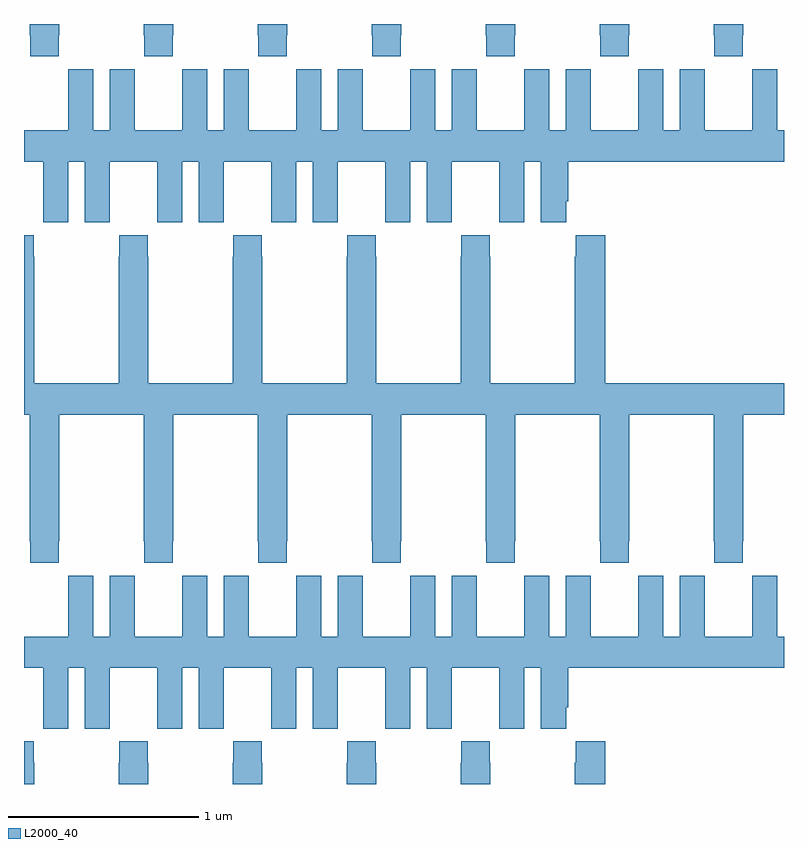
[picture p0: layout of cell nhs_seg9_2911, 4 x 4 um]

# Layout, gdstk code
import gdstk
lib = gdstk.Library(unit=1e-6, precision=1e-09)
def P(c, l, *ps):  # polygons
    for p in ps: c.add(gdstk.Polygon(p, *l))
L2000_40 = (2000, 40)

nhs_seg9_2911 = lib.new_cell('nhs_seg9_2911')
P(nhs_seg9_2911, L2000_40, [(279.783,1174.441),(279.786,1174.441),(279.786,1174.5),(279.631,1174.5),(279.631,1174.441),(279.633,1174.441),(279.633,1174.329),(279.783,1174.329)],
  [(279.183,1174.441),(279.186,1174.441),(279.186,1174.5),(279.031,1174.5),(279.031,1174.441),(279.033,1174.441),(279.033,1174.329),(279.183,1174.329)],
  [(282.783,1174.441),(282.786,1174.441),(282.786,1174.5),(282.631,1174.5),(282.631,1174.441),(282.633,1174.441),(282.633,1174.329),(282.783,1174.329)],
  [(282.183,1174.441),(282.186,1174.441),(282.186,1174.5),(282.031,1174.5),(282.031,1174.441),(282.033,1174.441),(282.033,1174.329),(282.183,1174.329)],
  [(281.583,1174.441),(281.586,1174.441),(281.586,1174.5),(281.431,1174.5),(281.431,1174.441),(281.433,1174.441),(281.433,1174.329),(281.583,1174.329)],
  [(280.983,1174.441),(280.986,1174.441),(280.986,1174.5),(280.831,1174.5),(280.831,1174.441),(280.833,1174.441),(280.833,1174.329),(280.983,1174.329)],
  [(280.383,1174.441),(280.386,1174.441),(280.386,1174.5),(280.231,1174.5),(280.231,1174.441),(280.233,1174.441),(280.233,1174.329),(280.383,1174.329)],
  [(279.232,1173.776),(279.32,1173.776),(279.32,1173.456),(279.45,1173.456),(279.45,1173.568),(279.451,1173.568),(279.451,1173.776),(279.701,1173.776),(279.701,1173.568),(279.702,1173.568),(279.702,1173.456),(279.832,1173.456),(279.832,1173.776),(279.92,1173.776),(279.92,1173.456),(280.05,1173.456),(280.05,1173.568),(280.051,1173.568),(280.051,1173.776),(280.301,1173.776),(280.301,1173.568),(280.302,1173.568),(280.302,1173.456),(280.432,1173.456),(280.432,1173.776),(280.52,1173.776),(280.52,1173.456),(280.65,1173.456),(280.65,1173.568),(280.651,1173.568),(280.651,1173.776),(280.901,1173.776),(280.901,1173.568),(280.902,1173.568),(280.902,1173.456),(281.032,1173.456),(281.032,1173.776),(281.12,1173.776),(281.12,1173.456),(281.25,1173.456),(281.25,1173.568),(281.251,1173.568),(281.251,1173.776),(281.501,1173.776),(281.501,1173.568),(281.502,1173.568),(281.502,1173.456),(281.632,1173.456),(281.632,1173.776),(281.72,1173.776),(281.72,1173.456),(281.854,1173.456),(281.854,1173.568),(281.864,1173.568),(281.864,1173.776),(283,1173.776),(283,1173.94),(282.964,1173.94),(282.964,1174.261),(282.834,1174.261),(282.834,1174.148),(282.833,1174.148),(282.833,1173.94),(282.583,1173.94),(282.583,1174.148),(282.582,1174.148),(282.582,1174.261),(282.452,1174.261),(282.452,1173.94),(282.364,1173.94),(282.364,1174.261),(282.234,1174.261),(282.234,1174.148),(282.233,1174.148),(282.233,1173.94),(281.983,1173.94),(281.983,1174.148),(281.982,1174.148),(281.982,1174.261),(281.852,1174.261),(281.852,1173.94),(281.764,1173.94),(281.764,1174.261),(281.634,1174.261),(281.634,1174.148),(281.633,1174.148),(281.633,1173.94),(281.383,1173.94),(281.383,1174.148),(281.382,1174.148),(281.382,1174.261),(281.252,1174.261),(281.252,1173.94),(281.164,1173.94),(281.164,1174.261),(281.034,1174.261),(281.034,1174.148),(281.033,1174.148),(281.033,1173.94),(280.783,1173.94),(280.783,1174.148),(280.782,1174.148),(280.782,1174.261),(280.652,1174.261),(280.652,1173.94),(280.564,1173.94),(280.564,1174.261),(280.434,1174.261),(280.434,1174.148),(280.433,1174.148),(280.433,1173.94),(280.183,1173.94),(280.183,1174.148),(280.182,1174.148),(280.182,1174.261),(280.052,1174.261),(280.052,1173.94),(279.964,1173.94),(279.964,1174.261),(279.834,1174.261),(279.834,1174.148),(279.833,1174.148),(279.833,1173.94),(279.583,1173.94),(279.583,1174.148),(279.582,1174.148),(279.582,1174.261),(279.452,1174.261),(279.452,1173.94),(279.364,1173.94),(279.364,1174.261),(279.234,1174.261),(279.234,1174.148),(279.233,1174.148),(279.233,1173.94),(279,1173.94),(279,1173.776),(279.101,1173.776),(279.101,1173.568),(279.102,1173.568),(279.102,1173.456),(279.232,1173.456)],
  [(282.059,1173.388),(281.905,1173.388),(281.905,1173.275),(281.899,1173.275),(281.899,1172.608),(281.454,1172.608),(281.454,1173.275),(281.451,1173.275),(281.451,1173.388),(281.301,1173.388),(281.301,1173.275),(281.299,1173.275),(281.299,1172.608),(280.854,1172.608),(280.854,1173.275),(280.851,1173.275),(280.851,1173.388),(280.701,1173.388),(280.701,1173.275),(280.699,1173.275),(280.699,1172.608),(280.254,1172.608),(280.254,1173.275),(280.251,1173.275),(280.251,1173.388),(280.101,1173.388),(280.101,1173.275),(280.099,1173.275),(280.099,1172.608),(279.654,1172.608),(279.654,1173.275),(279.651,1173.275),(279.651,1173.388),(279.501,1173.388),(279.501,1173.275),(279.499,1173.275),(279.499,1172.608),(279.054,1172.608),(279.054,1173.275),(279.051,1173.275),(279.051,1173.388),(279,1173.388),(279,1172.444),(279.031,1172.444),(279.031,1171.777),(279.033,1171.777),(279.033,1171.665),(279.183,1171.665),(279.183,1171.777),(279.186,1171.777),(279.186,1172.444),(279.631,1172.444),(279.631,1171.777),(279.633,1171.777),(279.633,1171.665),(279.783,1171.665),(279.783,1171.777),(279.786,1171.777),(279.786,1172.444),(280.231,1172.444),(280.231,1171.777),(280.233,1171.777),(280.233,1171.665),(280.383,1171.665),(280.383,1171.777),(280.386,1171.777),(280.386,1172.444),(280.831,1172.444),(280.831,1171.777),(280.833,1171.777),(280.833,1171.665),(280.983,1171.665),(280.983,1171.777),(280.986,1171.777),(280.986,1172.444),(281.431,1172.444),(281.431,1171.777),(281.433,1171.777),(281.433,1171.665),(281.583,1171.665),(281.583,1171.777),(281.586,1171.777),(281.586,1172.444),(282.031,1172.444),(282.031,1171.777),(282.033,1171.777),(282.033,1171.665),(282.183,1171.665),(282.183,1171.777),(282.186,1171.777),(282.186,1172.444),(282.631,1172.444),(282.631,1171.777),(282.633,1171.777),(282.633,1171.665),(282.783,1171.665),(282.783,1171.777),(282.786,1171.777),(282.786,1172.444),(283,1172.444),(283,1172.608),(282.059,1172.608)],
  [(279.364,1171.597),(279.234,1171.597),(279.234,1171.484),(279.233,1171.484),(279.233,1171.276),(279,1171.276),(279,1171.112),(279.101,1171.112),(279.101,1170.904),(279.102,1170.904),(279.102,1170.792),(279.232,1170.792),(279.232,1171.112),(279.32,1171.112),(279.32,1170.792),(279.45,1170.792),(279.45,1170.904),(279.451,1170.904),(279.451,1171.112),(279.701,1171.112),(279.701,1170.904),(279.702,1170.904),(279.702,1170.792),(279.832,1170.792),(279.832,1171.112),(279.92,1171.112),(279.92,1170.792),(280.05,1170.792),(280.05,1170.904),(280.051,1170.904),(280.051,1171.112),(280.301,1171.112),(280.301,1170.904),(280.302,1170.904),(280.302,1170.792),(280.432,1170.792),(280.432,1171.112),(280.52,1171.112),(280.52,1170.792),(280.65,1170.792),(280.65,1170.904),(280.651,1170.904),(280.651,1171.112),(280.901,1171.112),(280.901,1170.904),(280.902,1170.904),(280.902,1170.792),(281.032,1170.792),(281.032,1171.112),(281.12,1171.112),(281.12,1170.792),(281.25,1170.792),(281.25,1170.904),(281.251,1170.904),(281.251,1171.112),(281.501,1171.112),(281.501,1170.904),(281.502,1170.904),(281.502,1170.792),(281.632,1170.792),(281.632,1171.112),(281.72,1171.112),(281.72,1170.792),(281.854,1170.792),(281.854,1170.904),(281.864,1170.904),(281.864,1171.112),(283,1171.112),(283,1171.276),(282.964,1171.276),(282.964,1171.597),(282.834,1171.597),(282.834,1171.484),(282.833,1171.484),(282.833,1171.276),(282.583,1171.276),(282.583,1171.484),(282.582,1171.484),(282.582,1171.597),(282.452,1171.597),(282.452,1171.276),(282.364,1171.276),(282.364,1171.597),(282.234,1171.597),(282.234,1171.484),(282.233,1171.484),(282.233,1171.276),(281.983,1171.276),(281.983,1171.484),(281.982,1171.484),(281.982,1171.597),(281.852,1171.597),(281.852,1171.276),(281.764,1171.276),(281.764,1171.597),(281.634,1171.597),(281.634,1171.484),(281.633,1171.484),(281.633,1171.276),(281.383,1171.276),(281.383,1171.484),(281.382,1171.484),(281.382,1171.597),(281.252,1171.597),(281.252,1171.276),(281.164,1171.276),(281.164,1171.597),(281.034,1171.597),(281.034,1171.484),(281.033,1171.484),(281.033,1171.276),(280.783,1171.276),(280.783,1171.484),(280.782,1171.484),(280.782,1171.597),(280.652,1171.597),(280.652,1171.276),(280.564,1171.276),(280.564,1171.597),(280.434,1171.597),(280.434,1171.484),(280.433,1171.484),(280.433,1171.276),(280.183,1171.276),(280.183,1171.484),(280.182,1171.484),(280.182,1171.597),(280.052,1171.597),(280.052,1171.276),(279.964,1171.276),(279.964,1171.597),(279.834,1171.597),(279.834,1171.484),(279.833,1171.484),(279.833,1171.276),(279.583,1171.276),(279.583,1171.484),(279.582,1171.484),(279.582,1171.597),(279.452,1171.597),(279.452,1171.276),(279.364,1171.276)],
  [(281.454,1170.611),(281.451,1170.611),(281.451,1170.724),(281.301,1170.724),(281.301,1170.611),(281.299,1170.611),(281.299,1170.5),(281.454,1170.5)],
  [(282.059,1170.724),(281.905,1170.724),(281.905,1170.611),(281.899,1170.611),(281.899,1170.5),(282.059,1170.5)],
  [(279.054,1170.611),(279.051,1170.611),(279.051,1170.724),(279,1170.724),(279,1170.5),(279.054,1170.5)],
  [(280.854,1170.611),(280.851,1170.611),(280.851,1170.724),(280.701,1170.724),(280.701,1170.611),(280.699,1170.611),(280.699,1170.5),(280.854,1170.5)],
  [(279.654,1170.611),(279.651,1170.611),(279.651,1170.724),(279.501,1170.724),(279.501,1170.611),(279.499,1170.611),(279.499,1170.5),(279.654,1170.5)],
  [(280.254,1170.611),(280.251,1170.611),(280.251,1170.724),(280.101,1170.724),(280.101,1170.611),(280.099,1170.611),(280.099,1170.5),(280.254,1170.5)])

lib.write_gds('nhs_seg9_2911.gds')
